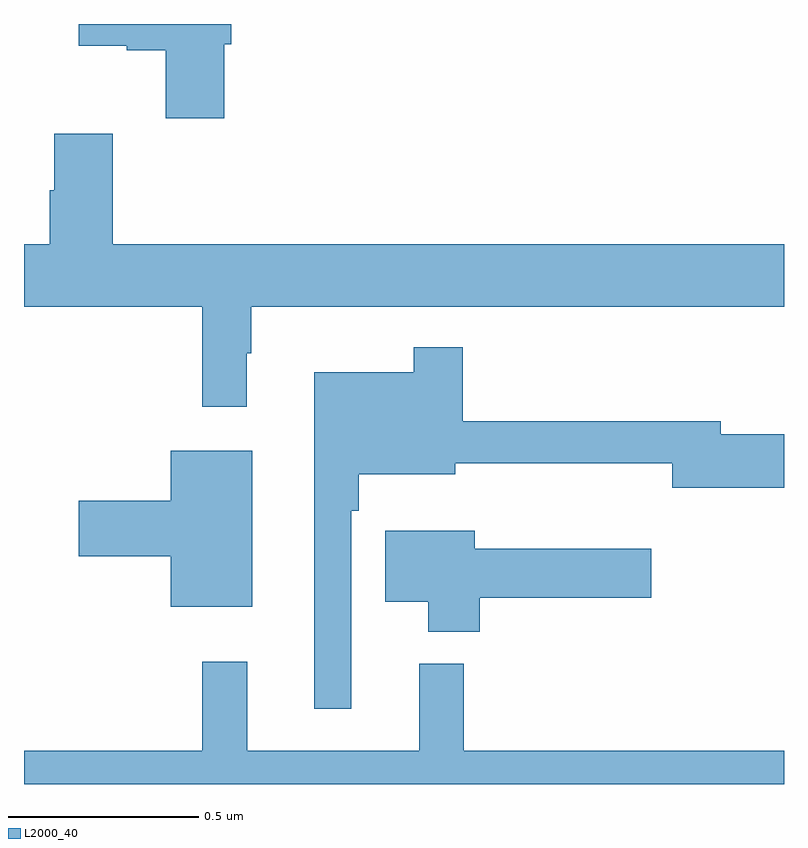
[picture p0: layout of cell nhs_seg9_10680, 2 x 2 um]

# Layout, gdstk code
import gdstk
lib = gdstk.Library(unit=1e-6, precision=1e-09)
def P(c, l, *ps):  # polygons
    for p in ps: c.add(gdstk.Polygon(p, *l))
L2000_40 = (2000, 40)

nhs_seg9_10680 = lib.new_cell('nhs_seg9_10680')
P(nhs_seg9_10680, L2000_40, [(246.527,1194.447),(246.545,1194.447),(246.545,1194.5),(246.144,1194.5),(246.144,1194.443),(246.27,1194.443),(246.27,1194.431),(246.373,1194.431),(246.373,1194.252),(246.527,1194.252)],
  [(246.586,1193.633),(246.598,1193.633),(246.598,1193.756),(248,1193.756),(248,1193.92),(246.233,1193.92),(246.233,1194.211),(246.08,1194.211),(246.08,1194.062),(246.068,1194.062),(246.068,1193.92),(246,1193.92),(246,1193.756),(246.469,1193.756),(246.469,1193.493),(246.586,1193.493)],
  [(246.861,1193.219),(246.881,1193.219),(246.881,1193.315),(247.135,1193.315),(247.135,1193.344),(247.706,1193.344),(247.706,1193.279),(248,1193.279),(248,1193.421),(247.834,1193.421),(247.834,1193.455),(247.154,1193.455),(247.154,1193.65),(247.026,1193.65),(247.026,1193.584),(246.764,1193.584),(246.764,1192.698),(246.861,1192.698)],
  [(246.601,1193.377),(246.386,1193.377),(246.386,1193.246),(246.144,1193.246),(246.144,1193.099),(246.386,1193.099),(246.386,1192.967),(246.601,1192.967)],
  [(247.199,1192.99),(247.651,1192.99),(247.651,1193.119),(247.186,1193.119),(247.186,1193.167),(246.95,1193.167),(246.95,1192.979),(247.064,1192.979),(247.064,1192.901),(247.199,1192.901)],
  [(248,1192.588),(247.157,1192.588),(247.157,1192.816),(247.04,1192.816),(247.04,1192.588),(246.587,1192.588),(246.587,1192.822),(246.469,1192.822),(246.469,1192.588),(246,1192.588),(246,1192.5),(248,1192.5)])

lib.write_gds('nhs_seg9_10680.gds')
